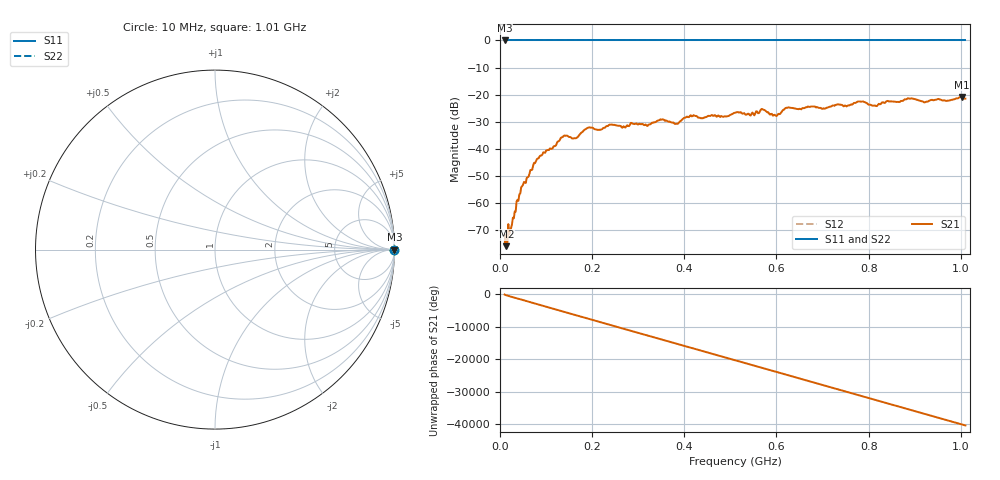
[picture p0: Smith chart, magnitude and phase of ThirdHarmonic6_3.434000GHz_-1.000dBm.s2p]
! 8/17/2025 11:03:13 AM
! C:\ANRITSUVNA\TEMP\TEMP.S2P
! CHANNEL.1
! TR.MEASUREMENT
! RAW.DATA
! RF.CORRECTION.OFF
! AVERAGING.OFF
! IF.BANDWIDTH: 5KHZ
! SWEEPTYPE:  FREQ.SWEEP(Linear)
! Reference Plane Port Info
! PORT:  PORT1  PORT2
! DISTANCE:  0  m  0  m
! TIME:  0  s  0  s
! PHASE.OFFSET:  0  deg.  0  deg.
! LOSS:  0  dB  0  dB
! REF.LOSS:  0  dB  0  dB
! REF.FREQ:  0  Hz  0  Hz
! Power Info
! POWER:  -20  dBm  -20  dBm
! EFF.POWER:  -20  dBm  -20  dBm
! SOURCE.ATTEN:  0  dB  0  dB
! TEST.ATTEN:  0  dB  0  dB
# GHZ S RI R 50.0
! FREQ.GHZ  S11RE  S11IM  S21RE  S21IM  S12RE  S12IM  S22RE  S22IM
!; PortSelection: Port_12
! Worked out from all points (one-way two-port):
!   501 points, 10 MHz to 1.01 GHz, reference 50 ohm
!   highest |S21| = -20.81 dB at 1.002 GHz (marker M1); lowest = -75.9 dB at 14 MHz (marker M2)
!   lowest |S11| = 0.0 dB at 10 MHz (marker M3)
!   |S11| at or under -10 dB: nowhere
!   |S22| runs from 0.0 to 0.0 dB; largest |S21 - S12| = 1.1
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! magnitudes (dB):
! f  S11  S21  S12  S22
! 10 MHz  0.0  -75.3  0.0  0.0
! 14 MHz  0.0  -75.9  0.0  0.0
! 24 MHz  0.0  -69.2  0.0  0.0
! 48 MHz  0.0  -53.8  0.0  0.0
! 78 MHz  0.0  -44.6  0.0  0.0
! 136 MHz  0.0  -35.6  0.0  0.0
! 162 MHz  0.0  -36.1  0.0  0.0
! 178 MHz  0.0  -33.8  0.0  0.0
! 344 MHz  0.0  -29.5  0.0  0.0
! 384 MHz  0.0  -30.7  0.0  0.0
! 416 MHz  0.0  -28.0  0.0  0.0
! 510 MHz  0.0  -26.7  0.0  0.0
! 548 MHz  0.0  -26.6  0.0  0.0
! 570 MHz  0.0  -25.4  0.0  0.0
! 596 MHz  0.0  -27.4  0.0  0.0
! 624 MHz  0.0  -24.9  0.0  0.0
! 678 MHz  0.0  -24.4  0.0  0.0
! 784 MHz  0.0  -22.6  0.0  0.0
! 814 MHz  0.0  -24.0  0.0  0.0
! 844 MHz  0.0  -22.5  0.0  0.0
! 1.002 GHz  0.0  -20.8  0.0  0.0
! 1.01 GHz  0.0  -21.5  0.0  0.0
